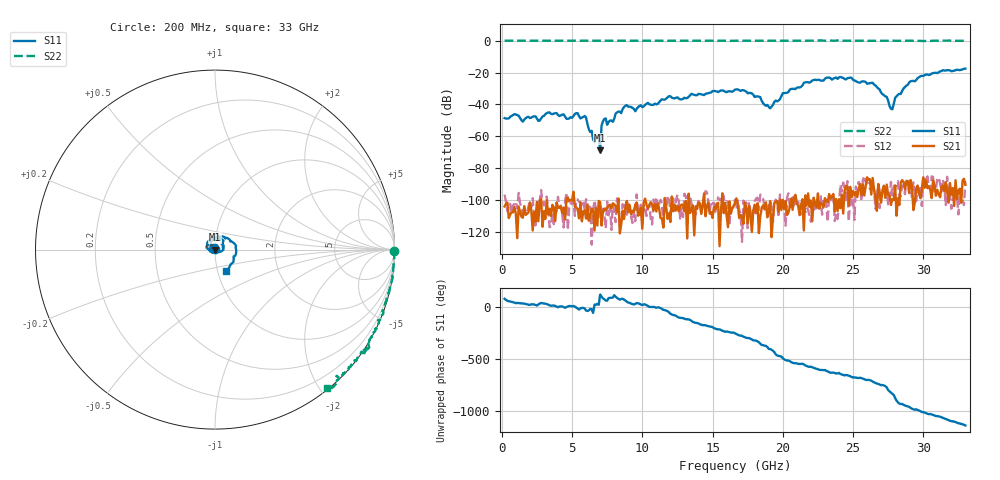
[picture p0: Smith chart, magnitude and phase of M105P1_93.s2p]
# GHZ S RI R 50
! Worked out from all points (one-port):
!   329 points, 200 MHz to 33 GHz, reference 50 ohm
!   lowest |S11| = -68.8 dB at 7 GHz (marker M1), VSWR 1.00, Z = 50 + j0.0303 ohm
!   |S11| at or under -10 dB: start of sweep to end of sweep
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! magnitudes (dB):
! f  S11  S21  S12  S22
! 200 MHz  -48.5  -103.9  -96.5  0.0
! 5.7 GHz  -48.2  -113.2  -104.4  0.0
! 6 GHz  -48.2  -111.4  -99.4  0.0
! 6.6 GHz  -63.7  -119.0  -100.1  0.0
! 6.9 GHz  -59.0  -100.5  -111.5  0.0
! 7 GHz  -68.8  -101.2  -102.6  0.0
! 7.1 GHz  -53.3  -115.9  -106.0  0.0
! 7.3 GHz  -49.1  -105.3  -108.8  0.0
! 7.9 GHz  -50.9  -102.0  -103.2  0.0
! 8.9 GHz  -40.4  -100.5  -109.1  0.0
! 9.5 GHz  -44.2  -102.8  -113.2  0.0
! 11.2 GHz  -38.6  -105.3  -102.0  -0.1
! 16.6 GHz  -30.7  -101.9  -99.7  0.0
! 19.1 GHz  -42.4  -100.6  -100.7  0.0
! 20 GHz  -33.0  -99.8  -99.1  0.0
! 22.1 GHz  -25.0  -113.3  -106.3  0.0
! 26.4 GHz  -26.4  -86.1  -92.2  0.0
! 27.6 GHz  -40.9  -97.1  -100.6  -0.1
! 27.8 GHz  -43.0  -99.3  -97.0  0.0
! 28 GHz  -35.8  -90.8  -91.7  -0.1
! 29.8 GHz  -22.3  -98.8  -91.5  -0.1
! 33 GHz  -17.5  -90.4  -88.3  -0.1
